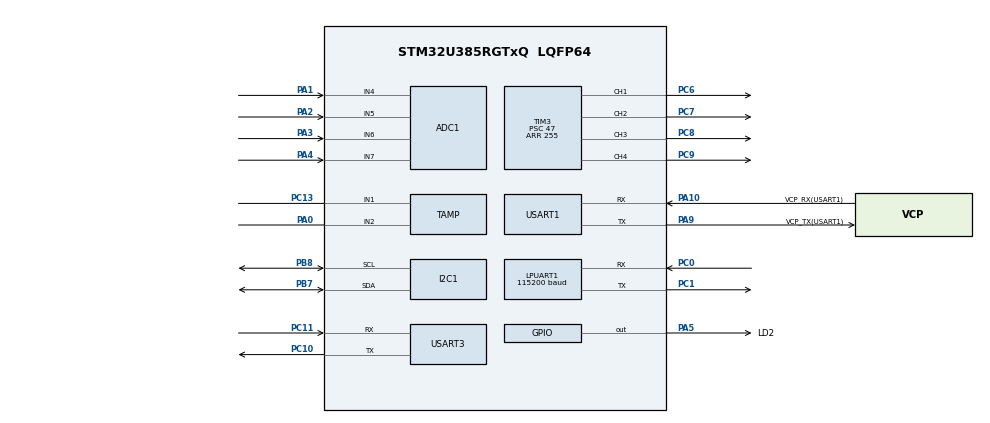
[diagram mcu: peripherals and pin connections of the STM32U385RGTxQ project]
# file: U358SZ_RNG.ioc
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ADC1.Channel-0\#ChannelRegularConversion=ADC_CHANNEL_4
ADC1.MonitoredBy-0\#ChannelRegularConversion=__NULL
ADC1.NbrOfConversionFlag=1
ADC1.OffsetNumber-0\#ChannelRegularConversion=ADC_OFFSET_NONE
ADC1.Rank-0\#ChannelRegularConversion=1
ADC1.SamplingTime-0\#ChannelRegularConversion=ADC_SAMPLETIME_1CYCLE_5
ADC1.master=1
CORTEX_M33_NS.userName=CORTEX_M33
I2C1.Timing=0x20303E5D
LPUART1.BaudRate=115200
Mcu.Family=STM32U3
Mcu.Name=STM32U385RGTxQ
Mcu.Package=LQFP64
NVIC.I2C1_ER_IRQn=true\:0\:0\:false\:false\:true\:true\:true\:true
NVIC.I2C1_EV_IRQn=true\:0\:0\:false\:false\:true\:true\:true\:true
NVIC.PriorityGroup=NVIC_PRIORITYGROUP_4
NVIC.TAMP_IRQn=true\:0\:0\:false\:false\:true\:true\:true\:true
PA0.Mode=Tamper_2_enabled0
PA0.Signal=TAMP_IN2
PA1.Mode=IN4-Single-Ended
PA1.Signal=ADC1_IN4
PA10.GPIO_Label=VCP_RX(USART1)
PA10.Mode=Asynchronous
PA10.Signal=USART1_RX
PA13\ (JTMS/SWDIO).GPIO_Label=DEBUG_JTMS-SWDIO
PA13\ (JTMS/SWDIO).Mode=JTAG_4_pins
PA13\ (JTMS/SWDIO).Signal=DEBUG_JTMS-SWDIO
PA14\ (JTCK/SWCLK).GPIO_Label=DEBUG_JTCK-SWCLK
PA14\ (JTCK/SWCLK).Mode=JTAG_4_pins
PA14\ (JTCK/SWCLK).Signal=DEBUG_JTCK-SWCLK
PA15\ (JTDI).GPIO_Label=DEBUG_JTDI
PA15\ (JTDI).Mode=JTAG_4_pins
PA15\ (JTDI).Signal=DEBUG_JTDI
PA2.Mode=IN5-Single-Ended
PA2.Signal=ADC1_IN5
PA3.Mode=IN6-Single-Ended
PA3.Signal=ADC1_IN6
PA4.Mode=IN7-Single-Ended
PA4.Signal=ADC1_IN7
PA5.GPIO_Label=LD2
PA5.Signal=GPIO_Output
PA9.GPIO_Label=VCP_TX(USART1)
PA9.Mode=Asynchronous
PA9.Signal=USART1_TX
PB3\ (JTDO/TRACESWO).GPIO_Label=DEBUG_JTDO-SWO
PB3\ (JTDO/TRACESWO).Mode=JTAG_4_pins
PB3\ (JTDO/TRACESWO).Signal=DEBUG_JTDO-SWO
PB7.Mode=I2C
PB7.Signal=I2C1_SDA
PB8.Mode=I2C
PB8.Signal=I2C1_SCL
PC0.Mode=Asynchronous
PC0.Signal=LPUART1_RX
PC1.Mode=Asynchronous
PC1.Signal=LPUART1_TX
PC10.Mode=Asynchronous
PC10.Signal=USART3_TX
PC11.Mode=Asynchronous
PC11.Signal=USART3_RX
PC13.Mode=Tamper_1_enabled0
PC13.Signal=TAMP_IN1
PC14-OSC32_IN\ (PC14).GPIO_Label=RCC_OSC32_IN
PC14-OSC32_IN\ (PC14).Signal=RCC_OSC32_IN
PC15-OSC32_OUT\ (PC15).GPIO_Label=RCC_OSC32_OUT
PC15-OSC32_OUT\ (PC15).Signal=RCC_OSC32_OUT
PC6.Signal=S_TIM3_CH1
PC7.Signal=S_TIM3_CH2
PC8.Signal=S_TIM3_CH3
PC9.Signal=S_TIM3_CH4
ProjectManager.HeapSize=0x200
ProjectManager.StackSize=0x400
ProjectManager.TargetToolchain=STM32CubeIDE
RCC.ADCFreq_Value=48000000
RCC.AHBFreq_Value=48000000
RCC.APB1Freq_Value=48000000
RCC.APB1TimFreq_Value=48000000
RCC.APB2Freq_Value=48000000
RCC.APB2TimFreq_Value=48000000
RCC.APB3Freq_Value=48000000
RCC.CortexFreq_Value=6000000
RCC.HCLKFreq_Value=48000000
RCC.HSE_VALUE=16000000
RCC.HSI48_VALUE=48000000
RCC.HSI_VALUE=16000000
RCC.LSE_VALUE=32768
RCC.LSIDIV_VALUE=32000
RCC.MSIKDIV=RCC_MSI_DIV2
RCC.MSIKSource=RCC_MSI_RC1
RCC.MSISDIV=RCC_MSI_DIV2
RCC.SYSCLKFreq_VALUE=48000000
RCC.USBFreq_Value=24000000
RCC.USB_DIV=RCC_USB1CLKSOURCE_ICLK_DIV2
SH.S_TIM3_CH1.0=TIM3_CH1,PWM Generation1 CH1
SH.S_TIM3_CH2.0=TIM3_CH2,PWM Generation2 CH2
SH.S_TIM3_CH3.0=TIM3_CH3,PWM Generation3 CH3
SH.S_TIM3_CH4.0=TIM3_CH4,PWM Generation4 CH4
TIM3.Channel-PWM\ Generation1\ CH1=TIM_CHANNEL_1
TIM3.Channel-PWM\ Generation2\ CH2=TIM_CHANNEL_2
TIM3.Channel-PWM\ Generation3\ CH3=TIM_CHANNEL_3
TIM3.Channel-PWM\ Generation4\ CH4=TIM_CHANNEL_4
TIM3.PeriodNoDither=255
TIM3.Prescaler=47
USART1.VirtualMode-Asynchronous=VM_ASYNC
USART3.VirtualMode-Asynchronous=VM_ASYNC
VP_CORTEX_M33_NS_VS_Hclk.Mode=Hclk_Mode
VP_ICACHE_VS_ICACHE.Mode=DirectMappedCache
VP_MEMORYMAP_VS_MEMORYMAP.Mode=CurAppReg
VP_PWR_VS_DBSignals.Mode=DisableDeadBatterySignals
VP_PWR_VS_LPOM.Mode=PowerOptimisation
VP_PWR_VS_SECSignals.Mode=Security/Privilege
VP_RTC_VS_RTC_Activate.Mode=RTC_Enabled
VP_TIM3_VS_ClockSourceINT.Mode=Internal
board=NUCLEO-U385RG-Q

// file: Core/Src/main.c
/* USER CODE BEGIN Header */
/**
  ******************************************************************************
  * @file           : main.c
  * @brief          : Main program body
  ******************************************************************************
  * @attention
  *
  * Copyright (c) 2026 STMicroelectronics.
  * All rights reserved.
  *
  * This software is licensed under terms that can be found in the LICENSE file
  * in the root directory of this software component.
  * If no LICENSE file comes with this software, it is provided AS-IS.
  *
  ******************************************************************************
  */
/* USER CODE END Header */
#include "main.h"
#include "adc.h"
#include "i2c.h"
#include "icache.h"
#include "usart.h"
#include "rtc.h"
#include "tamp.h"
#include "tim.h"
#include "gpio.h"

/* USER CODE BEGIN Includes */
#include <string.h>
/* USER CODE END Includes */

/* USER CODE BEGIN PD */
#define SEC_MAX_CRYPTO_BUF	256
/* USER CODE END PD */

/* USER CODE BEGIN PM */
//__HAL_TIM_SET_COMPARE(&htim3, TIM_CHANNEL_2, random_value_led2);
/* USER CODE END PM */

void SystemClock_Config(void);

int main(void)
{

  /* MCU Configuration--------------------------------------------------------*/

  /* Reset of all peripherals, Initializes the Flash interface and the Systick. */
  HAL_Init();

  /* USER CODE BEGIN Init */
  //SystemClock_Config_Board();
    //goto clock_done;
  /* USER CODE END Init */

  /* Configure the system clock */
  SystemClock_Config();

  /* USER CODE BEGIN SysInit */
//    MX_GTZC_S_Init();
  /* USER CODE END SysInit */

  /* Initialize all configured peripherals */
  MX_GPIO_Init();
  MX_ICACHE_Init();
  MX_TIM3_Init();
  MX_ADC1_Init();
  MX_I2C1_Init();
  MX_LPUART1_UART_Init();
  MX_USART1_UART_Init();
  MX_USART3_UART_Init();
  MX_RTC_Init();
  MX_TAMP_RTC_Init();

  /* Infinite loop */
  /* USER CODE BEGIN WHILE */
  static int16_t duty = 0;
  static int8_t direction = 1;
  uint32_t mstick = HAL_GetTick() + 200;
  while (1)
  {
	  duty += direction;
	  if (duty >= 255 || duty <= 0) {
		  direction = -direction;
	  }

	  HAL_Delay(10);
//	  PWM COMMANDS!
    /* USER CODE END WHILE */

    /* USER CODE BEGIN 3 */
	  if (HAL_GetTick() > mstick)
	  {
		  LL_GPIO_TogglePin(LD2_GPIO_Port, LD2_Pin);
		  mstick = HAL_GetTick() + 200;
	  }
  }
  /* USER CODE END 3 */
}

void SystemClock_Config(void)
{
  RCC_OscInitTypeDef RCC_OscInitStruct = {0};
  RCC_ClkInitTypeDef RCC_ClkInitStruct = {0};

  /** Configure the System Power Supply
  */
  if (HAL_PWREx_ConfigSupply(PWR_SMPS_SUPPLY) != HAL_OK)
  {
    Error_Handler();
  }

  /** Enable Epod Booster
  */
  if (HAL_RCCEx_EpodBoosterClkConfig(RCC_EPODBOOSTER_SOURCE_MSIS, RCC_EPODBOOSTER_DIV1) != HAL_OK)
  {
    Error_Handler();
  }
  if (HAL_PWREx_EnableEpodBooster() != HAL_OK)
  {
    Error_Handler();
  }

  /** Configure the main internal regulator output voltage
  */
  if (HAL_PWREx_ControlVoltageScaling(PWR_REGULATOR_VOLTAGE_SCALE2) != HAL_OK)
  {
    Error_Handler();
  }

  /** Set Flash latency before increasing MSIS
  */
  __HAL_FLASH_SET_LATENCY(FLASH_LATENCY_2);

  /** Initializes the CPU, AHB and APB buses clocks
  */
  RCC_OscInitStruct.OscillatorType = RCC_OSCILLATORTYPE_LSI|RCC_OSCILLATORTYPE_MSIS;
  RCC_OscInitStruct.LSIState = RCC_LSI_ON;
  RCC_OscInitStruct.LSIDiv = RCC_LSI_DIV1;
  RCC_OscInitStruct.MSISState = RCC_MSI_ON;
  RCC_OscInitStruct.MSISSource = RCC_MSI_RC0;
  RCC_OscInitStruct.MSISDiv = RCC_MSI_DIV2;
  if (HAL_RCC_OscConfig(&RCC_OscInitStruct) != HAL_OK)
  {
    Error_Handler();
  }

  /** Initializes the CPU, AHB and APB buses clocks
  */
  RCC_ClkInitStruct.ClockType = RCC_CLOCKTYPE_HCLK|RCC_CLOCKTYPE_SYSCLK
                              |RCC_CLOCKTYPE_PCLK1|RCC_CLOCKTYPE_PCLK2
                              |RCC_CLOCKTYPE_PCLK3;
  RCC_ClkInitStruct.SYSCLKSource = RCC_SYSCLKSOURCE_MSIS;
  RCC_ClkInitStruct.AHBCLKDivider = RCC_SYSCLK_DIV1;
  RCC_ClkInitStruct.APB1CLKDivider = RCC_HCLK_DIV1;
  RCC_ClkInitStruct.APB2CLKDivider = RCC_HCLK_DIV1;
  RCC_ClkInitStruct.APB3CLKDivider = RCC_HCLK_DIV1;

  if (HAL_RCC_ClockConfig(&RCC_ClkInitStruct, FLASH_LATENCY_2) != HAL_OK)
  {
    Error_Handler();
  }
}

/* USER CODE BEGIN 4 */
volatile uint8_t tamper1_flag = 0;
volatile uint8_t tamper2_flag = 0;
volatile uint32_t tamper1_count = 0;

void HAL_RTCEx_Tamper1EventCallback(RTC_HandleTypeDef *hrtc)
{
    tamper1_flag = 1;
    tamper1_count++;
}

void HAL_RTCEx_Tamper2EventCallback(RTC_HandleTypeDef *hrtc)
{
    tamper2_flag = 1;
}
/* USER CODE END 4 */

void Error_Handler(void)
{
  __disable_irq();
  while (1)
  {
  }
}
